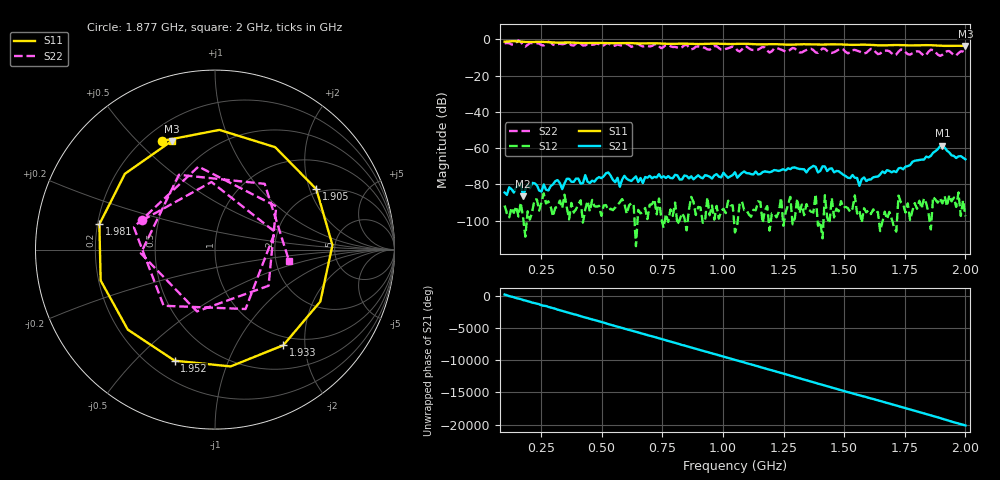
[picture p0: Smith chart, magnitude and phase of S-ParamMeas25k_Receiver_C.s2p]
!Keysight Technologies,N5242B,MY48420967,A.15.65.19
!Date: Saturday, February 04, 2023 02:27:18
!Correction: S11(C  1-Port  )
!S21(Off)
!S12(Off)
!S22(Off)
!S2P File: Measurements: S11, S21, S12, S22:
# Hz S  dB  R 50
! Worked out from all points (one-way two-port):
!   201 points, 100 MHz to 2 GHz, reference 50 ohm
!   highest |S21| = -58.67 dB at 1.905 GHz (marker M1); lowest = -86.4 dB at 176 MHz (marker M2)
!   lowest |S11| = -3.7 dB at 2 GHz (marker M3), VSWR 4.74, Z = 15.1 + j31.7 ohm
!   |S11| at or under -10 dB: nowhere
!   |S22| runs from -9.2 to -0.7 dB; largest |S21 - S12| = 0.0012
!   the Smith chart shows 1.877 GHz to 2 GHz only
!   S11 on the Smith chart (normalised r, x): 1.877 GHz: 0.27, +0.59; 1.905 GHz: 1.87, +2.22; 1.933 GHz: 0.85, -1.60; 1.952 GHz: 0.30, -0.66; 1.981 GHz: 0.21, +0.10; 2 GHz: 0.30, +0.63
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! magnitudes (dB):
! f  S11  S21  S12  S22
! 100 MHz  -1.3  -84.5  -91.6  -2.2
! 176 MHz  -1.4  -86.4  -98.0  -3.3
! 423 MHz  -2.1  -79.3  -101.0  -3.5
! 432.5 MHz  -2.1  -74.9  -93.8  -3.4
! 451.5 MHz  -2.1  -79.2  -94.9  -2.6
! 527.5 MHz  -2.2  -73.4  -94.3  -2.1
! 575 MHz  -2.1  -81.3  -89.9  -3.3
! 594 MHz  -2.1  -75.2  -90.5  -3.0
! 670 MHz  -2.3  -79.3  -95.1  -4.0
! 736.5 MHz  -2.3  -74.4  -87.8  -3.9
! 879 MHz  -2.6  -77.2  -89.6  -5.2
! 1.05 GHz  -2.6  -73.3  -106.4  -4.5
! 1.373 GHz  -2.9  -69.8  -95.5  -6.0
! 1.534 GHz  -3.1  -74.8  -93.3  -6.0
! 1.563 GHz  -3.0  -80.8  -94.3  -6.7
! 1.687 GHz  -3.3  -72.6  -95.1  -6.6
! 1.877 GHz  -3.4  -61.6  -88.3  -7.2
! 1.905 GHz  -3.6  -58.7  -90.5  -8.6
! 1.933 GHz  -3.7  -62.4  -85.8  -6.5
! 1.952 GHz  -3.6  -64.3  -87.2  -8.9
! 1.981 GHz  -3.6  -64.4  -97.3  -6.7
! 2 GHz  -3.7  -66.1  -97.5  -7.6
